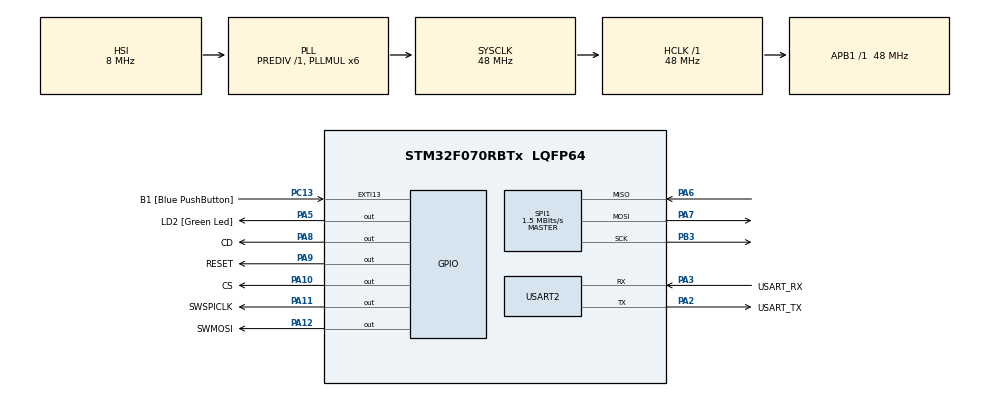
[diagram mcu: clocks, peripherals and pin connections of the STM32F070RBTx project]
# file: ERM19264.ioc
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Mcu.Family=STM32F0
Mcu.Name=STM32F070RBTx
Mcu.Package=LQFP64
PA10.GPIO_Label=CS
PA10.Signal=GPIO_Output
PA11.GPIO_Label=SWSPICLK
PA11.Signal=GPIO_Output
PA12.GPIO_Label=SWMOSI
PA12.Signal=GPIO_Output
PA13.GPIO_Label=TMS
PA13.Mode=Serial_Wire
PA13.Signal=SYS_SWDIO
PA14.GPIO_Label=TCK
PA14.Mode=Serial_Wire
PA14.Signal=SYS_SWCLK
PA2.GPIO_Label=USART_TX
PA2.Mode=Asynchronous
PA2.Signal=USART2_TX
PA3.GPIO_Label=USART_RX
PA3.Mode=Asynchronous
PA3.Signal=USART2_RX
PA5.GPIO_Label=LD2 [Green Led]
PA5.Signal=GPIO_Output
PA6.Mode=Full_Duplex_Master
PA6.Signal=SPI1_MISO
PA7.Mode=Full_Duplex_Master
PA7.Signal=SPI1_MOSI
PA8.GPIO_Label=CD
PA8.Signal=GPIO_Output
PA9.GPIO_Label=RESET
PA9.Signal=GPIO_Output
PB3.Mode=Full_Duplex_Master
PB3.Signal=SPI1_SCK
PC13.GPIO_Label=B1 [Blue PushButton]
PC13.GPIO_ModeDefaultEXTI=GPIO_MODE_IT_FALLING
PC13.Signal=GPXTI13
PC14-OSC32_IN.GPIO_Label=RCC_OSC32_IN
PC14-OSC32_IN.Mode=LSE-External-Oscillator
PC14-OSC32_IN.Signal=RCC_OSC32_IN
PC15-OSC32_OUT.GPIO_Label=RCC_OSC32_OUT
PC15-OSC32_OUT.Mode=LSE-External-Oscillator
PC15-OSC32_OUT.Signal=RCC_OSC32_OUT
PF0-OSC_IN.GPIO_Label=RCC_OSC_IN
PF0-OSC_IN.Mode=HSE-External-Clock-Source
PF0-OSC_IN.Signal=RCC_OSC_IN
PF1-OSC_OUT.GPIO_Label=RCC_OSC_OUT
PF1-OSC_OUT.Signal=RCC_OSC_OUT
ProjectManager.HeapSize=0x200
ProjectManager.StackSize=0x400
ProjectManager.TargetToolchain=STM32CubeIDE
RCC.AHBFreq_Value=48000000
RCC.APB1Freq_Value=48000000
RCC.APB1TimFreq_Value=48000000
RCC.HCLKFreq_Value=48000000
RCC.PLLMUL=RCC_PLL_MUL6
RCC.SYSCLKFreq_VALUE=48000000
RCC.SYSCLKSource=RCC_SYSCLKSOURCE_PLLCLK
SPI1.BaudRatePrescaler=SPI_BAUDRATEPRESCALER_32
SPI1.CalculateBaudRate=1.5 MBits/s
SPI1.DataSize=SPI_DATASIZE_8BIT
SPI1.Direction=SPI_DIRECTION_2LINES
SPI1.Mode=SPI_MODE_MASTER
SPI1.VirtualType=VM_MASTER
USART2.VirtualMode-Asynchronous=VM_ASYNC
board=NUCLEO-F070RB

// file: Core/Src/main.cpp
/* USER CODE BEGIN Header */
/*
// Example file name : main.cpp
// Description:
// Test file for ERM19264_UC1609_library,
// multi-buffer mode.
// *****************************
// NOTES :
// (1) Hardware SPI
// ******************************
// URL: https://github.com/gavinlyonsrepo/STM32_projects
 */

/* USER CODE END Header */
#include "main.h"

/* USER CODE BEGIN Includes */
#include "ERM19264_UC1609.hpp"
#include <string.h>

/* USER CODE END Includes */

SPI_HandleTypeDef hspi1;
UART_HandleTypeDef huart2;

void SystemClock_Config(void);
static void MX_GPIO_Init(void);
static void MX_USART2_UART_Init(void);
static void MX_SPI1_Init(void);
/* USER CODE BEGIN PFP */
void display_Right(MultiBuffer* targetbuffer);
void display_Left(MultiBuffer* targetbuffer);
/* USER CODE END PFP */

/* USER CODE BEGIN 0 */
ERM19264_UC1609  mylcd(true);
uint16_t count  = 0;
#define VbiasPOT 0x49 //Constrast 00 to FE , 0x49 is default. user adjust
#define LCDRAMADDRCTRL 0x02  // RAM address control: Range 0-0x07, optional, default 0x02
#define MYLCDHEIGHT 64
#define MYLCDWIDTH  192
#define DisplayDelay1 5000
#define DisplayDelay2 0
/* USER CODE END 0 */

int main(void)
{

  /* MCU Configuration--------------------------------------------------------*/

  /* Reset of all peripherals, Initializes the Flash interface and the Systick. */
  HAL_Init();

  /* Configure the system clock */
  SystemClock_Config();

  /* Initialize all configured peripherals */
  MX_GPIO_Init();
  MX_USART2_UART_Init();
  MX_SPI1_Init();
  /* USER CODE BEGIN 2 */

  uint8_t buf[12];
  mylcd.LCDbegin(LCDRAMADDRCTRL, VbiasPOT, &hspi1); // initialize the LCD
  mylcd.LCDFillScreen(0xE5, 0); // Fill the screen with a a pattern , "just for splashscreen effect"
  HAL_Delay(1500);
  mylcd.LCDFillScreen(0x00, 0); // Clear the screen
  /* USER CODE END 2 */

  /* Infinite loop */
  /* USER CODE BEGIN WHILE */
  HAL_GPIO_WritePin(GPIOA, LD2_Pin,GPIO_PIN_SET);
  strcpy((char*)buf,"Start\r\n");
  HAL_UART_Transmit(&huart2, buf, strlen((char*)buf),HAL_MAX_DELAY ); //baud 38400

  while (1)
  {

	   mylcd.setTextColor(FOREGROUND);
	   mylcd.setTextSize(1);
	   // Define a half screen sized buffer
	   uint8_t  screenBuffer[(MYLCDWIDTH * (MYLCDHEIGHT/8))/2]; // 1536/2 = 768 bytes

	   MultiBuffer left_side;  // Declare a multi buffer struct for left side of screen
	   // Intialise that struct (&struct, buffer, w, h, x_offset, y-offset)
	   mylcd.LCDinitBufferStruct(&left_side, screenBuffer, MYLCDWIDTH/2, MYLCDHEIGHT, 0, 0);

	   MultiBuffer right_side;  // Declare a multi buffer struct for right side of screen
	   // Intialise that struct (&struct, buffer, w, h, x_offset, y-offset)
	   mylcd.LCDinitBufferStruct(&right_side, screenBuffer, MYLCDWIDTH/2, MYLCDHEIGHT, MYLCDWIDTH/2, 0);

	   display_Left(&left_side);

	   display_Right(&right_side);
	   count++;
	   HAL_Delay(1);
	  /* USER CODE END WHILE */

  }
}

void SystemClock_Config(void)
{
  RCC_OscInitTypeDef RCC_OscInitStruct = {0};
  RCC_ClkInitTypeDef RCC_ClkInitStruct = {0};

  /** Initializes the RCC Oscillators according to the specified parameters
  * in the RCC_OscInitTypeDef structure.
  */
  RCC_OscInitStruct.OscillatorType = RCC_OSCILLATORTYPE_HSI;
  RCC_OscInitStruct.HSIState = RCC_HSI_ON;
  RCC_OscInitStruct.HSICalibrationValue = RCC_HSICALIBRATION_DEFAULT;
  RCC_OscInitStruct.PLL.PLLState = RCC_PLL_ON;
  RCC_OscInitStruct.PLL.PLLSource = RCC_PLLSOURCE_HSI;
  RCC_OscInitStruct.PLL.PLLMUL = RCC_PLL_MUL6;
  RCC_OscInitStruct.PLL.PREDIV = RCC_PREDIV_DIV1;
  if (HAL_RCC_OscConfig(&RCC_OscInitStruct) != HAL_OK)
  {
    Error_Handler();
  }
  /** Initializes the CPU, AHB and APB buses clocks
  */
  RCC_ClkInitStruct.ClockType = RCC_CLOCKTYPE_HCLK|RCC_CLOCKTYPE_SYSCLK
                              |RCC_CLOCKTYPE_PCLK1;
  RCC_ClkInitStruct.SYSCLKSource = RCC_SYSCLKSOURCE_PLLCLK;
  RCC_ClkInitStruct.AHBCLKDivider = RCC_SYSCLK_DIV1;
  RCC_ClkInitStruct.APB1CLKDivider = RCC_HCLK_DIV1;

  if (HAL_RCC_ClockConfig(&RCC_ClkInitStruct, FLASH_LATENCY_1) != HAL_OK)
  {
    Error_Handler();
  }
}

static void MX_SPI1_Init(void)
{

  /* SPI1 parameter configuration*/
  hspi1.Instance = SPI1;
  hspi1.Init.Mode = SPI_MODE_MASTER;
  hspi1.Init.Direction = SPI_DIRECTION_2LINES;
  hspi1.Init.DataSize = SPI_DATASIZE_8BIT;
  hspi1.Init.CLKPolarity = SPI_POLARITY_LOW;
  hspi1.Init.CLKPhase = SPI_PHASE_1EDGE;
  hspi1.Init.NSS = SPI_NSS_SOFT;
  hspi1.Init.BaudRatePrescaler = SPI_BAUDRATEPRESCALER_32;
  hspi1.Init.FirstBit = SPI_FIRSTBIT_MSB;
  hspi1.Init.TIMode = SPI_TIMODE_DISABLE;
  hspi1.Init.CRCCalculation = SPI_CRCCALCULATION_DISABLE;
  hspi1.Init.CRCPolynomial = 7;
  hspi1.Init.CRCLength = SPI_CRC_LENGTH_DATASIZE;
  hspi1.Init.NSSPMode = SPI_NSS_PULSE_ENABLE;
  if (HAL_SPI_Init(&hspi1) != HAL_OK)
  {
    Error_Handler();
  }

}

static void MX_USART2_UART_Init(void)
{

  huart2.Instance = USART2;
  huart2.Init.BaudRate = 38400;
  huart2.Init.WordLength = UART_WORDLENGTH_8B;
  huart2.Init.StopBits = UART_STOPBITS_1;
  huart2.Init.Parity = UART_PARITY_NONE;
  huart2.Init.Mode = UART_MODE_TX_RX;
  huart2.Init.HwFlowCtl = UART_HWCONTROL_NONE;
  huart2.Init.OverSampling = UART_OVERSAMPLING_16;
  huart2.Init.OneBitSampling = UART_ONE_BIT_SAMPLE_DISABLE;
  huart2.AdvancedInit.AdvFeatureInit = UART_ADVFEATURE_NO_INIT;
  if (HAL_UART_Init(&huart2) != HAL_OK)
  {
    Error_Handler();
  }

}

static void MX_GPIO_Init(void)
{
  GPIO_InitTypeDef GPIO_InitStruct = {0};

  /* GPIO Ports Clock Enable */
  __HAL_RCC_GPIOC_CLK_ENABLE();
  __HAL_RCC_GPIOF_CLK_ENABLE();
  __HAL_RCC_GPIOA_CLK_ENABLE();
  __HAL_RCC_GPIOB_CLK_ENABLE();

  /*Configure GPIO pin Output Level */
  HAL_GPIO_WritePin(GPIOA, LD2_Pin|CD_Pin|RESET_Pin|CS_Pin
                          |SWSPICLK_Pin|SWMOSI_Pin, GPIO_PIN_RESET);

  /*Configure GPIO pin : B1_Pin */
  GPIO_InitStruct.Pin = B1_Pin;
  GPIO_InitStruct.Mode = GPIO_MODE_IT_FALLING;
  GPIO_InitStruct.Pull = GPIO_NOPULL;
  HAL_GPIO_Init(B1_GPIO_Port, &GPIO_InitStruct);

  /*Configure GPIO pins : LD2_Pin CD_Pin RESET_Pin CS_Pin
                           SWSPICLK_Pin SWMOSI_Pin */
  GPIO_InitStruct.Pin = LD2_Pin|CD_Pin|RESET_Pin|CS_Pin
                          |SWSPICLK_Pin|SWMOSI_Pin;
  GPIO_InitStruct.Mode = GPIO_MODE_OUTPUT_PP;
  GPIO_InitStruct.Pull = GPIO_NOPULL;
  GPIO_InitStruct.Speed = GPIO_SPEED_FREQ_LOW;
  HAL_GPIO_Init(GPIOA, &GPIO_InitStruct);

}

/* USER CODE BEGIN 4 */
// Function to display left hand side buffer
void display_Left(MultiBuffer* targetbuffer)
{
  mylcd.ActiveBuffer = targetbuffer; // set target buffer object
  mylcd.LCDclearBuffer();
  mylcd.setCursor(0, 0);
  mylcd.print("Left Buffer:");

  mylcd.setCursor(0, 10);
  mylcd.print("96 * 64/8 = 768");

  mylcd.setCursor(0, 20);
  mylcd.print("x * y/8 = 768");

  mylcd.setCursor(0, 30);
  mylcd.print(count);

  mylcd.setCursor(0, 40);

  mylcd.setCursor(0, 50);
  mylcd.print("V 1.5.0");
  mylcd.drawFastVLine(92, 0, 63, FOREGROUND);
  mylcd.LCDupdate();
}

// Function to display right hand side buffer
void display_Right(MultiBuffer* targetbuffer)
{
  mylcd.ActiveBuffer = targetbuffer; // set target buffer object
  mylcd.LCDclearBuffer();
  mylcd.setCursor(0, 0);
  mylcd.print("Right buffer:");

  mylcd.fillRect(0, 10, 20, 20, FOREGROUND);
  mylcd.fillCircle(40, 20, 10, FOREGROUND);
  mylcd.fillTriangle(60, 30, 70, 10, 80, 30, FOREGROUND);
  mylcd.drawRoundRect(10, 40, 60, 20, 10, FOREGROUND);

  mylcd.LCDupdate();
}

/* USER CODE END 4 */

void Error_Handler(void)
{
}

/************************ (C) COPYRIGHT STMicroelectronics *****END OF FILE****/
